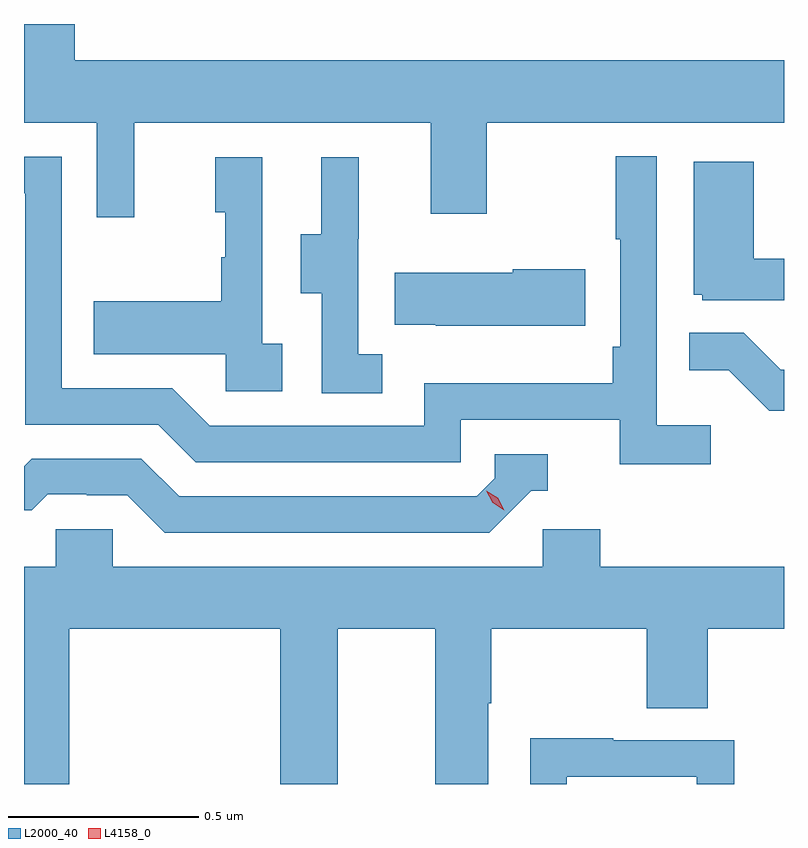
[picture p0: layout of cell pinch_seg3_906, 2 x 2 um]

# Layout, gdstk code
import gdstk
lib = gdstk.Library(unit=1e-6, precision=1e-09)
def P(c, l, *ps):  # polygons
    for p in ps: c.add(gdstk.Polygon(p, *l))
L2000_40 = (2000, 40)
L4158_0 = (4158, 0)

pinch_seg3_906 = lib.new_cell('pinch_seg3_906')
P(pinch_seg3_906, L2000_40, [(878.933,699.584),(879.713,699.584),(879.713,699.345),(879.861,699.345),(879.861,699.584),(880.643,699.584),(880.643,699.748),(878.776,699.748),(878.776,699.844),(878.643,699.844),(878.643,699.584),(878.835,699.584),(878.835,699.336),(878.933,699.336)],
  [(880.45,698.788),(880.308,698.788),(880.308,699.496),(880.2,699.496),(880.2,699.277),(880.212,699.277),(880.212,698.995),(880.192,698.995),(880.192,698.899),(879.696,698.899),(879.696,698.787),(879.132,698.787),(879.033,698.886),(878.742,698.886),(878.742,699.495),(878.643,699.495),(878.643,699.399),(878.646,699.399),(878.646,698.79),(878.996,698.79),(879.095,698.691),(879.792,698.691),(879.792,698.802),(880.211,698.802),(880.211,698.686),(880.45,698.686)],
  [(879.586,698.975),(879.522,698.975),(879.522,699.279),(879.524,699.279),(879.524,699.493),(879.425,699.493),(879.425,699.291),(879.371,699.291),(879.371,699.136),(879.426,699.136),(879.426,698.872),(879.586,698.872)],
  [(879.322,699.002),(879.27,699.002),(879.27,699.493),(879.146,699.493),(879.146,699.348),(879.172,699.348),(879.172,699.23),(879.162,699.23),(879.162,699.115),(878.827,699.115),(878.827,698.975),(879.174,698.975),(879.174,698.877),(879.322,698.877)],
  [(880.643,699.226),(880.564,699.226),(880.564,699.481),(880.406,699.481),(880.406,699.132),(880.428,699.132),(880.428,699.117),(880.643,699.117)],
  [(880.12,699.198),(879.929,699.198),(879.929,699.19),(879.619,699.19),(879.619,699.053),(879.727,699.053),(879.727,699.05),(880.12,699.05)],
  [(880.643,698.934),(880.635,698.934),(880.537,699.032),(880.393,699.032),(880.393,698.933),(880.497,698.933),(880.604,698.826),(880.643,698.826)],
  [(879.978,698.616),(880.021,698.616),(880.021,698.712),(879.882,698.712),(879.882,698.649),(879.834,698.601),(879.051,698.601),(878.952,698.7),(878.663,698.7),(878.643,698.68),(878.643,698.565),(878.663,698.565),(878.705,698.607),(878.808,698.607),(878.808,698.604),(878.915,698.604),(879.014,698.505),(879.867,698.505)],
  [(878.877,698.514),(878.727,698.514),(878.727,698.416),(878.643,698.416),(878.643,697.844),(878.762,697.844),(878.762,698.252),(879.317,698.252),(879.317,697.844),(879.469,697.844),(879.469,698.252),(879.725,698.252),(879.725,697.844),(879.865,697.844),(879.865,698.056),(879.873,698.056),(879.873,698.252),(880.282,698.252),(880.282,698.044),(880.442,698.044),(880.442,698.252),(880.643,698.252),(880.643,698.416),(880.16,698.416),(880.16,698.514),(880.008,698.514),(880.008,698.416),(878.877,698.416)],
  [(880.071,697.863),(880.413,697.863),(880.413,697.844),(880.512,697.844),(880.512,697.959),(880.193,697.959),(880.193,697.964),(879.975,697.964),(879.975,697.844),(880.071,697.844)])
P(pinch_seg3_906, L4158_0, [(879.907,698.564),(879.876,698.584),(879.859,698.616),(879.859,698.616),(879.859,698.616),(879.89,698.597),(879.907,698.564),(879.907,698.564)])

lib.write_gds('pinch_seg3_906.gds')
